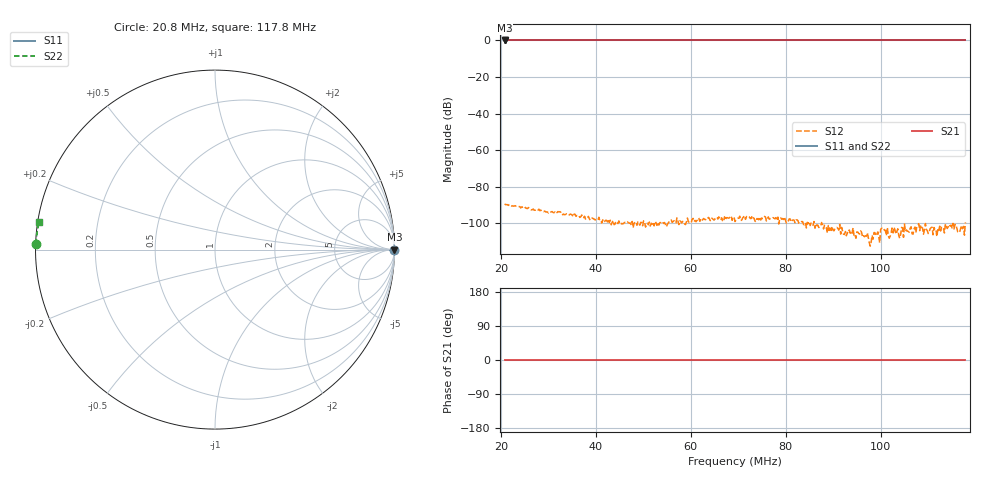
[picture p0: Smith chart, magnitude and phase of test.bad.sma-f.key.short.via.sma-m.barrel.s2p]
! Anritsu VNA Master:  Model: MS2036C/10/77
! SN:  1601066
! /bd0/18may12.cable.cal/test.bad.sma-f.key.short.via.sma-m.barrel.s2p
! Existing Calibration Information:
! TYPE:  Current Settings,  Active Cal Settings
! TIME:  05/12/2018 01:17:16 PM,  05/12/2018 01:02:08 PM
! INTERNAL TEMP:  49.8 C,  50.0 C
! # POINTS:  485,  485
! START FREQ:  20.801 603 MHz,  20.801 603 MHz
! STOP FREQ:  117.795 590 MHz,  117.795 590 MHz
! SOURCE POWER:  High,  High
! IFBW:  50 Hz,  50 Hz
! AVG FACTOR:  1 ,  1
! REF PLANE 1:  0 mm,  0 mm
! REF PLANE 2:  0 mm,  0 mm
! CAL TYPE:  Full S22,  Full S22
! CAL METHOD:  SOLT,  SOLT
! CAL LINE TYPE:  Coax,  Coax
! DUT PORT 1:  K-Conn(M),  K-Conn(M)
! DUT PORT 2:  K-Conn(M),  K-Conn(M)
! CAL STATUS:  OK: Accuracy High,  --
# GHZ S DB R 50.0
! FREQ.GHZ  S11DB  S11A  S21DB  S21A  S12DB  S12A  S22DB  S22A
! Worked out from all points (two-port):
!   485 points, 20.8 MHz to 117.8 MHz, reference 50 ohm
!   highest |S21| = 0.00 dB at 20.8 MHz (marker M1); lowest = 0.0 dB at 20.8 MHz (marker M2)
!   |S21| within 3 dB of the highest: start of sweep to end of sweep
!   lowest |S11| = 0.0 dB at 20.8 MHz (marker M3)
!   |S11| at or under -10 dB: nowhere
!   |S22| runs from -0.1 to 0.0 dB; largest |S21 - S12| = 1
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0.0208016  0.00 0.0  0.00 0.0  -89.40 52.1  -0.01 178.4
0.03022044  0.00 0.0  0.00 0.0  -93.70 24.6  -0.02 177.7
0.03703407  0.00 0.0  0.00 0.0  -95.48 17.3  -0.02 177.1
0.04124249  0.00 0.0  0.00 0.0  -99.86 25.9  -0.02 176.8
0.05326653  0.00 0.0  0.00 0.0  -100.99 31.9  -0.03 176.0
0.05947896  0.00 0.0  0.00 0.0  -98.96 34.2  -0.03 175.5
0.06128256  0.00 0.0  0.00 0.0  -98.51 34.0  -0.04 175.4
0.06328657  0.00 0.0  0.00 0.0  -97.75 15.2  -0.03 175.2
0.0692986  0.00 0.0  0.00 0.0  -99.04 12.5  -0.04 174.8
0.07230461  0.00 0.0  0.00 0.0  -96.48 9.2  -0.04 174.6
0.07931864  0.00 0.0  0.00 0.0  -97.44 3.0  -0.04 174.0
0.08272545  0.00 0.0  0.00 0.0  -99.95 -6.4  -0.04 173.8
0.08553106  0.00 0.0  0.00 0.0  -100.17 -9.4  -0.04 173.6
0.08833667  0.00 0.0  0.00 0.0  -102.31 -9.7  -0.04 173.4
0.09234469  0.00 0.0  0.00 0.0  -106.12 -23.4  -0.05 173.1
0.09875752  0.00 0.0  0.00 0.0  -105.23 2.6  -0.05 172.6
0.1017635  0.00 0.0  0.00 0.0  -108.22 41.5  -0.05 172.4
0.1053707  0.00 0.0  0.00 0.0  -103.62 -15.8  -0.05 172.1
0.107976  0.00 0.0  0.00 0.0  -100.19 34.5  -0.06 171.9
0.1137876  0.00 0.0  0.00 0.0  -101.74 27.5  -0.06 171.5
0.1147896  0.00 0.0  0.00 0.0  -101.04 40.1  -0.06 171.4
0.1177956  0.00 0.0  0.00 0.0  -99.54 30.0  -0.06 171.2
